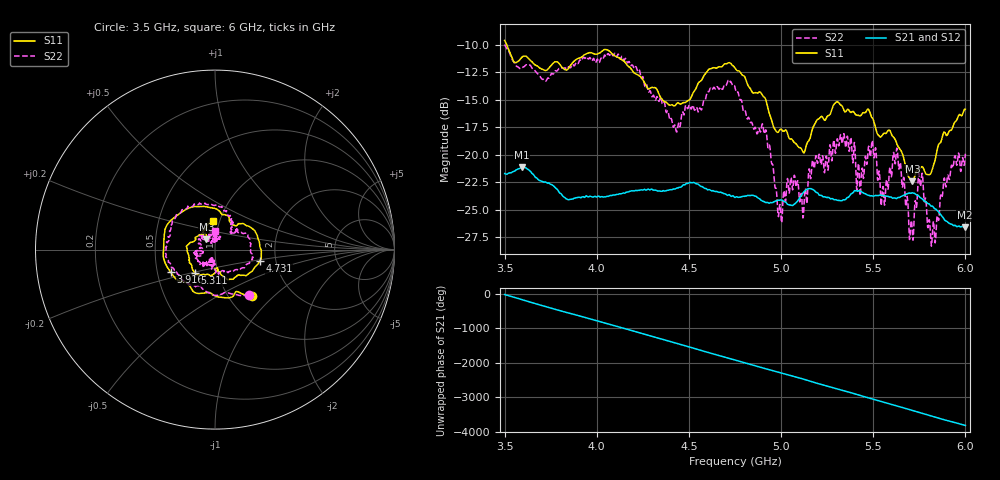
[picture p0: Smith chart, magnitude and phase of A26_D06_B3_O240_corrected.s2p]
! Created with skrf 1.9.0 (http://scikit-rf.org).
# Hz S RI R 50.0
!freq ReS11 ImS11 ReS21 ImS21 ReS12 ImS12 ReS22 ImS22
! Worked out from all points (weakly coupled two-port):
!   1601 points, 3.5 GHz to 6 GHz, reference 50 ohm
!   highest |S21| = -21.15 dB at 3.592 GHz (marker M1); lowest = -26.6 dB at 5.995 GHz (marker M2)
!   lowest |S11| = -22.4 dB at 5.713 GHz (marker M3), VSWR 1.16, Z = 45.1 + j5.29 ohm
!   |S11| at or under -10 dB: 3.512 GHz to end of sweep
!   |S22| runs from -28.3 to -10.0 dB; largest |S21 - S12| = 0.00099
!   S11 on the Smith chart (normalised r, x): 3.5 GHz: 1.28, -0.74; 3.916 GHz: 0.59, -0.16; 4.731 GHz: 1.64, -0.23; 5.311 GHz: 0.77, -0.21; 6 GHz: 0.93, +0.31
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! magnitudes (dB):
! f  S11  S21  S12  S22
! 3.5 GHz  -9.6  -21.7  -21.7  -10.0
! 3.592 GHz  -11.2  -21.2  -21.2  -12.1
! 3.916 GHz  -11.2  -23.9  -23.9  -11.5
! 3.917 GHz  -11.1  -23.9  -23.8  -11.4
! 4.334 GHz  -14.4  -23.3  -23.2  -15.1
! 4.427 GHz  -15.5  -23.1  -23.1  -17.5
! 4.731 GHz  -11.8  -23.8  -23.8  -13.5
! 4.75 GHz  -12.1  -23.9  -23.8  -13.9
! 4.909 GHz  -14.8  -24.3  -24.2  -18.1
! 4.994 GHz  -17.7  -24.1  -24.1  -24.5
! 5.167 GHz  -17.8  -23.1  -23.1  -21.0
! 5.311 GHz  -15.2  -24.2  -24.1  -19.1
! 5.42 GHz  -16.4  -23.3  -23.3  -20.8
! 5.486 GHz  -16.4  -23.8  -23.7  -20.1
! 5.552 GHz  -18.2  -23.7  -23.7  -23.0
! 5.584 GHz  -17.8  -23.8  -23.8  -22.4
! 5.636 GHz  -19.3  -23.9  -23.8  -20.8
! 5.713 GHz  -22.4  -23.5  -23.4  -27.1
! 5.755 GHz  -21.2  -23.9  -23.8  -22.8
! 5.827 GHz  -21.0  -24.8  -24.7  -26.0
! 5.995 GHz  -15.9  -26.6  -26.5  -20.8
! 6 GHz  -15.9  -26.6  -26.5  -19.9
